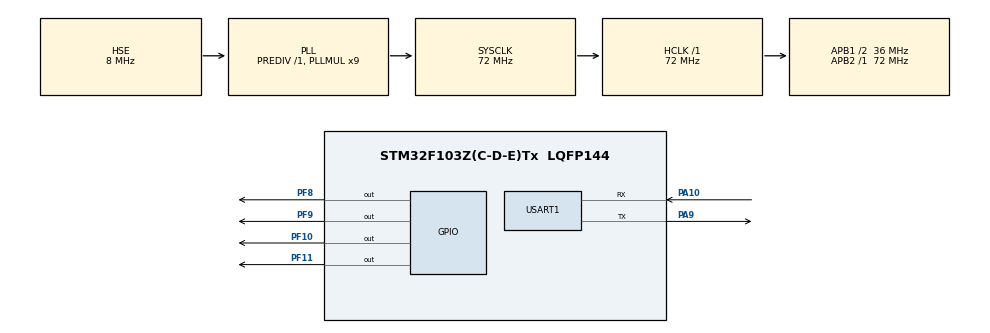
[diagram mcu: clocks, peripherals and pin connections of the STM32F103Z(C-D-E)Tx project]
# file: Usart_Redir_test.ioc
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Mcu.Family=STM32F1
Mcu.Name=STM32F103Z(C-D-E)Tx
Mcu.Package=LQFP144
NVIC.PriorityGroup=NVIC_PRIORITYGROUP_4
OSC_IN.Mode=HSE-External-Oscillator
OSC_IN.Signal=RCC_OSC_IN
OSC_OUT.Mode=HSE-External-Oscillator
OSC_OUT.Signal=RCC_OSC_OUT
PA10.Mode=Asynchronous
PA10.Signal=USART1_RX
PA13.Mode=Serial_Wire
PA13.Signal=SYS_JTMS-SWDIO
PA14.Mode=Serial_Wire
PA14.Signal=SYS_JTCK-SWCLK
PA9.Mode=Asynchronous
PA9.Signal=USART1_TX
PF10.PinState=GPIO_PIN_SET
PF10.Signal=GPIO_Output
PF11.PinState=GPIO_PIN_SET
PF11.Signal=GPIO_Output
PF8.PinState=GPIO_PIN_SET
PF8.Signal=GPIO_Output
PF9.PinState=GPIO_PIN_SET
PF9.Signal=GPIO_Output
ProjectManager.HeapSize=0x200
ProjectManager.StackSize=0x400
ProjectManager.TargetToolchain=MDK-ARM V5.32
RCC.AHBFreq_Value=72000000
RCC.APB1CLKDivider=RCC_HCLK_DIV2
RCC.APB1Freq_Value=36000000
RCC.APB1TimFreq_Value=72000000
RCC.APB2Freq_Value=72000000
RCC.APB2TimFreq_Value=72000000
RCC.HCLKFreq_Value=72000000
RCC.PLLMUL=RCC_PLL_MUL9
RCC.PLLSourceVirtual=RCC_PLLSOURCE_HSE
RCC.SYSCLKFreq_VALUE=72000000
RCC.SYSCLKSource=RCC_SYSCLKSOURCE_PLLCLK
RCC.USBFreq_Value=72000000
USART1.Parity=PARITY_ODD
USART1.VirtualMode=VM_ASYNC
USART1.WordLength=WORDLENGTH_9B
board=custom

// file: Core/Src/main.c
/* USER CODE BEGIN Header */
/**
  ******************************************************************************
  * @file           : main.c
  * @brief          : Main program body
  ******************************************************************************
  * @attention
  *
  * Copyright (c) 2026 STMicroelectronics.
  * All rights reserved.
  *
  * This software is licensed under terms that can be found in the LICENSE file
  * in the root directory of this software component.
  * If no LICENSE file comes with this software, it is provided AS-IS.
  *
  ******************************************************************************
  */
/* USER CODE END Header */
#include "main.h"

/* USER CODE BEGIN Includes */
#include <string.h>
#include <stdio.h>
#include "BSP_Usart_Redir.h"
#include "BSP_LED.h"
/* USER CODE END Includes */

/* USER CODE BEGIN PM */
#define SIZE 32
/* USER CODE END PM */

UART_HandleTypeDef huart1;

/* USER CODE BEGIN PV */
char who[SIZE];
/* USER CODE END PV */

void SystemClock_Config(void);
static void MX_GPIO_Init(void);
static void MX_USART1_UART_Init(void);
/* USER CODE BEGIN PFP */
void Usart_Ctl_LED();
/* USER CODE END PFP */

int main(void)
{

  /* MCU Configuration--------------------------------------------------------*/

  /* Reset of all peripherals, Initializes the Flash interface and the Systick. */
  HAL_Init();

  /* Configure the system clock */
  SystemClock_Config();

  /* Initialize all configured peripherals */
  MX_GPIO_Init();
  MX_USART1_UART_Init();
  /* USER CODE BEGIN 2 */

  BSP_Usart_Init(&huart1);
  char inbuffer[32];
  printf("LED Blink BEGIN\n");
  /* USER CODE END 2 */

  /* Infinite loop */
  /* USER CODE BEGIN WHILE */
  while (1)
  {
    Usart_Ctl_LED();

    // fgets(inbuffer, 31,stdin);
    // int a = 0;
    // scanf("%d",&a);
    // printf("echo->%d\n",a);

    // BSP_led_on(LED1);
    // HAL_GPIO_TogglePin(GPIOF,GPIO_PIN_8);
    // fgets(inbuffer, 31,stdin);
    // int a = 0;
    // scanf("%d",&a);
    // printf("echo->%d\n",a);
    // HAL_GPIO_TogglePin(GPIOF,GPIO_PIN_8);
    //  printf("hello : %d",123);
    //  HAL_GPIO_TogglePin(GPIOF,GPIO_PIN_8);
    //  HAL_Delay(1000);
    /* USER CODE END WHILE */

  }
}

void SystemClock_Config(void)
{
  RCC_OscInitTypeDef RCC_OscInitStruct = {0};
  RCC_ClkInitTypeDef RCC_ClkInitStruct = {0};

  /** Initializes the RCC Oscillators according to the specified parameters
  * in the RCC_OscInitTypeDef structure.
  */
  RCC_OscInitStruct.OscillatorType = RCC_OSCILLATORTYPE_HSE;
  RCC_OscInitStruct.HSEState = RCC_HSE_ON;
  RCC_OscInitStruct.HSEPredivValue = RCC_HSE_PREDIV_DIV1;
  RCC_OscInitStruct.HSIState = RCC_HSI_ON;
  RCC_OscInitStruct.PLL.PLLState = RCC_PLL_ON;
  RCC_OscInitStruct.PLL.PLLSource = RCC_PLLSOURCE_HSE;
  RCC_OscInitStruct.PLL.PLLMUL = RCC_PLL_MUL9;
  if (HAL_RCC_OscConfig(&RCC_OscInitStruct) != HAL_OK)
  {
    Error_Handler();
  }

  /** Initializes the CPU, AHB and APB buses clocks
  */
  RCC_ClkInitStruct.ClockType = RCC_CLOCKTYPE_HCLK|RCC_CLOCKTYPE_SYSCLK
                              |RCC_CLOCKTYPE_PCLK1|RCC_CLOCKTYPE_PCLK2;
  RCC_ClkInitStruct.SYSCLKSource = RCC_SYSCLKSOURCE_PLLCLK;
  RCC_ClkInitStruct.AHBCLKDivider = RCC_SYSCLK_DIV1;
  RCC_ClkInitStruct.APB1CLKDivider = RCC_HCLK_DIV2;
  RCC_ClkInitStruct.APB2CLKDivider = RCC_HCLK_DIV1;

  if (HAL_RCC_ClockConfig(&RCC_ClkInitStruct, FLASH_LATENCY_2) != HAL_OK)
  {
    Error_Handler();
  }
}

static void MX_USART1_UART_Init(void)
{

  huart1.Instance = USART1;
  huart1.Init.BaudRate = 115200;
  huart1.Init.WordLength = UART_WORDLENGTH_9B;
  huart1.Init.StopBits = UART_STOPBITS_1;
  huart1.Init.Parity = UART_PARITY_ODD;
  huart1.Init.Mode = UART_MODE_TX_RX;
  huart1.Init.HwFlowCtl = UART_HWCONTROL_NONE;
  huart1.Init.OverSampling = UART_OVERSAMPLING_16;
  if (HAL_UART_Init(&huart1) != HAL_OK)
  {
    Error_Handler();
  }

}

static void MX_GPIO_Init(void)
{
  GPIO_InitTypeDef GPIO_InitStruct = {0};

  /* GPIO Ports Clock Enable */
  __HAL_RCC_GPIOF_CLK_ENABLE();
  __HAL_RCC_GPIOA_CLK_ENABLE();

  /*Configure GPIO pin Output Level */
  HAL_GPIO_WritePin(GPIOF, GPIO_PIN_8|GPIO_PIN_9|GPIO_PIN_10|GPIO_PIN_11, GPIO_PIN_SET);

  /*Configure GPIO pins : PF8 PF9 PF10 PF11 */
  GPIO_InitStruct.Pin = GPIO_PIN_8|GPIO_PIN_9|GPIO_PIN_10|GPIO_PIN_11;
  GPIO_InitStruct.Mode = GPIO_MODE_OUTPUT_PP;
  GPIO_InitStruct.Pull = GPIO_NOPULL;
  GPIO_InitStruct.Speed = GPIO_SPEED_FREQ_LOW;
  HAL_GPIO_Init(GPIOF, &GPIO_InitStruct);

}

/* USER CODE BEGIN 4 */

void Usart_Ctl_LED()
{
  fgets(who,SIZE-1,stdin);

  if(strncasecmp("LED1",who,strlen("LED1"))==0)
  {
    printf("LED1 BLINK");
    LED_Blink(LED1);
  }
  if(strncasecmp("LED2",who,strlen("LED2"))==0)
  {
    printf("LED2 BLINK");
     LED_Blink(LED2);
  }
  if(strncasecmp("LED3",who,strlen("LED3"))==0)
  {
    printf("LED3 BLINK");
     LED_Blink(LED3);
  }
  if(strncasecmp("LED4",who,strlen("LED4"))==0)
  {
    printf("LED4 BLINK");
     LED_Blink(LED4);
  }
  if(strncasecmp("ALL",who,strlen("ALL"))==0)
  {
    printf("ALL LED BLINK");
     LED_Blink(ALL);
  }
}

// int fputc(int ch,FILE* fp)
// {
//   UNUSED(fp);
//   if(HAL_UART_Transmit(&huart1,(uint8_t*)&ch,1,HAL_MAX_DELAY) == HAL_OK)
//   {
//     return ch;
//   }
//   return EOF;
// }

// int fgetc(FILE* fp)
// {
//   UNUSED(fp);
//    uint8_t ch;
//    while(1)
//    {
//     if(HAL_UART_Receive(&huart1,&ch,1,HAL_MAX_DELAY) != HAL_OK)
//     {
//       return EOF;
//     }
//     if(ch!='\r')
//     {
//       return (int)ch;
//     }
//    }
// }
/* USER CODE END 4 */

void Error_Handler(void)
{
  __disable_irq();
  while (1)
  {
  }
}
